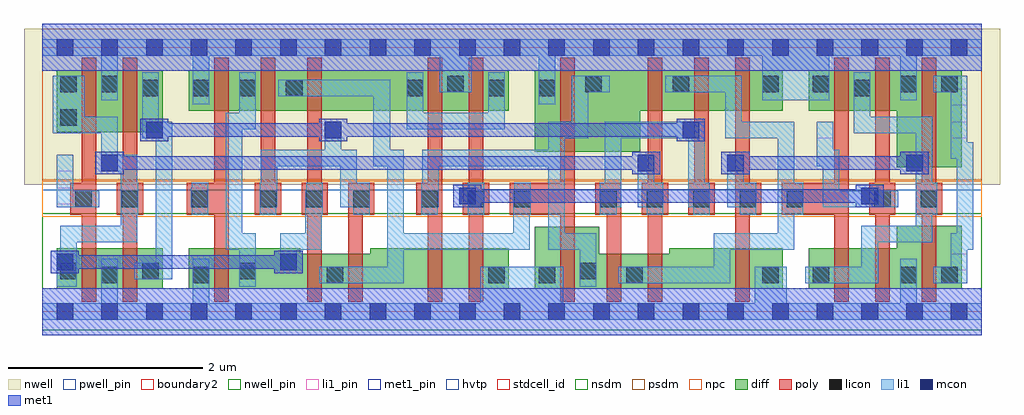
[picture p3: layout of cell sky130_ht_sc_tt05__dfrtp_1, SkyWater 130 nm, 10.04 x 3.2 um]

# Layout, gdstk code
import gdstk
lib = gdstk.Library(unit=1e-6, precision=1e-09)
def R(c, l, rs):  # rectangles x0, y0, x1, y1
    for r in rs: c.add(gdstk.rectangle(r[:2], r[2:], *l))
def A(c, l, x, y, w, h, nx, ny, dx, dy):  # array of equal rectangles
    R(c, l, [(x+i*dx, y+j*dy, x+i*dx+w, y+j*dy+h) for i in range(nx) for j in range(ny)])
def P(c, l, *ps):  # polygons
    for p in ps: c.add(gdstk.Polygon(p, *l))
nwell_pin = (64, 16)
nwell = (64, 20)
diff = (65, 20)
poly = (66, 20)
licon = (66, 44)
li1_pin = (67, 16)
li1 = (67, 20)
mcon = (67, 44)
met1_pin = (68, 16)
met1 = (68, 20)
hvtp = (78, 44)
stdcell_id = (81, 4)
nsdm = (93, 44)
psdm = (94, 20)
npc = (95, 20)
pwell_pin = (122, 16)
boundary2 = (236, 0)

sky130_ht_sc_tt05__dfrtp = lib.new_cell('sky130_ht_sc_tt05__dfrtp_1')
R(sky130_ht_sc_tt05__dfrtp, nwell_pin, [(0.145,2.635,0.315,2.805)])
R(sky130_ht_sc_tt05__dfrtp, nwell, [(-0.19,1.305,9.85,2.91)])
R(sky130_ht_sc_tt05__dfrtp, diff, [(0.145,0.235,1.235,0.655), (0.145,1.845,1.235,2.485), (1.505,2.065,4.795,2.485)])
P(sky130_ht_sc_tt05__dfrtp, diff, [(6.15,2.065),(7.615,2.065),(7.615,2.485),(5.065,2.485),(5.065,1.645),(6.15,1.645)],
  [(7.885,2.065),(8.79,2.065),(8.79,1.485),(9.455,1.485),(9.455,2.485),(7.885,2.485)],
  [(9.455,0.885),(8.79,0.885),(8.79,0.655),(7.885,0.655),(7.885,0.235),(9.455,0.235)],
  [(7.615,0.655),(6.45,0.655),(6.45,0.595),(5.73,0.595),(5.73,0.875),(5.065,0.875),(5.065,0.235),(7.615,0.235)],
  [(4.795,0.655),(3.37,0.655),(3.37,0.595),(2.65,0.595),(2.65,0.655),(1.505,0.655),(1.505,0.235),(4.795,0.235)])
P(sky130_ht_sc_tt05__dfrtp, poly, [(5.475,2.615),(5.325,2.615),(5.325,1.325),(4.805,1.325),(4.805,0.995),(5.325,0.995),(5.325,0.105),(5.475,0.105)],
  [(9.045,2.615),(9.045,1.325),(8.985,1.325),(8.985,0.995),(9.045,0.995),(9.045,0.105),(9.195,0.105),(9.195,0.995),(9.255,0.995),(9.255,1.325),(9.195,1.325),(9.195,2.615)],
  [(1.915,2.615),(1.765,2.615),(1.765,1.325),(1.485,1.325),(1.485,0.995),(1.765,0.995),(1.765,0.105),(1.915,0.105)],
  [(0.555,2.615),(0.405,2.615),(0.405,1.325),(0.285,1.325),(0.285,0.995),(0.405,0.995),(0.405,0.105),(0.555,0.105)],
  [(8.295,2.615),(8.145,2.615),(8.145,1.325),(7.605,1.325),(7.605,0.995),(8.145,0.995),(8.145,0.105),(8.295,0.105)],
  [(4.535,0.995),(4.595,0.995),(4.595,1.325),(4.535,1.325),(4.535,2.615),(4.385,2.615),(4.385,1.325),(4.325,1.325),(4.325,0.995),(4.385,0.995),(4.385,0.105),(4.535,0.105)],
  [(2.875,0.995),(2.935,0.995),(2.935,1.325),(2.875,1.325),(2.875,2.615),(2.725,2.615),(2.725,1.325),(2.665,1.325),(2.665,0.995),(2.725,0.995),(2.725,0.105),(2.875,0.105)],
  [(6.915,1.325),(6.855,1.325),(6.855,2.615),(6.705,2.615),(6.705,1.325),(6.645,1.325),(6.645,0.995),(6.915,0.995)],
  [(6.375,0.995),(6.435,0.995),(6.435,1.325),(6.375,1.325),(6.375,2.615),(6.225,2.615),(6.225,1.325),(6.165,1.325),(6.165,0.995),(6.225,0.995),(6.225,0.105),(6.375,0.105)],
  [(4.115,2.615),(3.965,2.615),(3.965,1.325),(3.845,1.325),(3.845,0.995),(3.965,0.995),(3.965,0.105),(4.115,0.105)],
  [(0.975,0.995),(1.035,0.995),(1.035,1.325),(0.975,1.325),(0.975,2.615),(0.825,2.615),(0.825,1.325),(0.765,1.325),(0.765,0.995),(0.825,0.995),(0.825,0.105),(0.975,0.105)],
  [(7.275,0.995),(7.395,0.995),(7.395,1.325),(7.275,1.325),(7.275,2.615),(7.125,2.615),(7.125,0.105),(7.275,0.105)],
  [(2.455,1.325),(2.395,1.325),(2.395,2.615),(2.245,2.615),(2.245,1.325),(2.185,1.325),(2.185,0.995),(2.455,0.995)],
  [(8.715,0.995),(8.775,0.995),(8.775,1.325),(8.715,1.325),(8.715,2.615),(8.565,2.615),(8.565,1.325),(8.505,1.325),(8.505,0.995),(8.565,0.995),(8.565,0.105),(8.715,0.105)],
  [(3.295,0.995),(3.415,0.995),(3.415,1.325),(3.145,1.325),(3.145,0.105),(3.295,0.105)],
  [(5.955,1.325),(5.685,1.325),(5.685,0.995),(5.805,0.995),(5.805,0.105),(5.955,0.105)])
A(sky130_ht_sc_tt05__dfrtp, licon, 2.235, 1.075, 0.17, 0.17, 3, 1, 0.48, 0)
A(sky130_ht_sc_tt05__dfrtp, licon, 3.895, 1.075, 0.17, 0.17, 3, 1, 0.48, 0)
A(sky130_ht_sc_tt05__dfrtp, licon, 5.735, 1.075, 0.17, 0.17, 5, 1, 0.48, 0)
A(sky130_ht_sc_tt05__dfrtp, licon, 1.545, 2.215, 0.17, 0.17, 3, 1, 0.48, 0)
R(sky130_ht_sc_tt05__dfrtp, licon, [(0.605,0.295,0.775,0.465), (1.545,0.295,1.715,0.465), (2.925,0.295,3.095,0.465), (4.585,0.295,4.755,0.465), (5.105,0.295,5.275,0.465), (6.005,0.295,6.175,0.465), (7.405,0.295,7.575,0.465), (7.925,0.295,8.095,0.465), (8.825,0.295,8.995,0.465), (9.245,0.295,9.415,0.465), (0.185,0.335,0.355,0.505), (1.025,0.335,1.195,0.505), (2.025,0.335,2.195,0.505), (5.525,0.335,5.695,0.505), (0.335,1.075,0.505,1.245), (0.815,1.075,0.985,1.245), (1.535,1.075,1.705,1.245), (8.555,1.075,8.725,1.245), (9.035,1.075,9.205,1.245), (0.185,1.915,0.355,2.085), (1.025,2.215,1.195,2.385), (3.745,2.215,3.915,2.385), (4.585,2.215,4.755,2.385), (5.105,2.215,5.275,2.385), (8.345,2.215,8.515,2.385), (0.185,2.255,0.355,2.425), (0.605,2.255,0.775,2.425), (4.165,2.255,4.335,2.425), (5.585,2.255,5.755,2.425), (6.485,2.255,6.655,2.425), (7.405,2.255,7.575,2.425), (7.925,2.255,8.095,2.425), (8.825,2.255,8.995,2.425), (9.245,2.255,9.415,2.425)])
R(sky130_ht_sc_tt05__dfrtp, li1_pin, [(9.345,0.425,9.515,0.595), (0.145,1.105,0.315,1.275), (1.525,1.105,1.695,1.275), (0.145,1.445,0.315,1.615), (7.965,1.785,8.135,1.955), (9.345,1.785,9.515,1.955), (9.345,2.125,9.515,2.295)])
P(sky130_ht_sc_tt05__dfrtp, li1, [(1.715,2.635),(4.085,2.635),(4.085,2.255),(4.415,2.255),(4.415,2.635),(5.105,2.635),(5.105,2.135),(5.275,2.135),(5.275,2.635),(7.405,2.635),(7.405,2.175),(8.095,2.175),(8.095,2.635),(8.825,2.635),(8.825,2.175),(8.995,2.175),(8.995,2.635),(9.66,2.635),(9.66,2.805),(0,2.805),(0,2.635),(0.605,2.635),(0.605,2.175),(0.775,2.175),(0.775,2.635),(1.545,2.635),(1.545,2.135),(1.715,2.135)],
  [(4.755,2.465),(4.585,2.465),(4.585,2.045),(3.915,2.045),(3.915,2.465),(3.745,2.465),(3.745,1.875),(4.755,1.875)],
  [(1.335,1.955),(1.195,1.955),(1.195,2.465),(1.025,2.465),(1.025,1.785),(1.165,1.785),(1.165,0.505),(0.945,0.505),(0.945,0.335),(1.335,0.335)],
  [(8.595,0.715),(9.155,0.715),(9.155,0.995),(9.205,0.995),(9.205,1.325),(9.155,1.325),(9.155,2.005),(8.515,2.005),(8.515,2.465),(8.345,2.465),(8.345,1.835),(8.985,1.835),(8.985,1.615),(8.885,1.615),(8.885,1.445),(8.985,1.445),(8.985,0.885),(8.425,0.885),(8.425,0.465),(7.845,0.465),(7.845,0.295),(8.595,0.295)],
  [(2.195,0.805),(2.055,0.805),(2.055,1.875),(2.195,1.875),(2.195,2.465),(2.025,2.465),(2.025,2.045),(1.885,2.045),(1.885,0.635),(2.025,0.635),(2.025,0.255),(2.195,0.255)],
  [(0.355,0.715),(0.975,0.715),(0.975,0.995),(0.985,0.995),(0.985,1.325),(0.975,1.325),(0.975,1.615),(0.775,1.615),(0.775,2.005),(0.435,2.005),(0.435,2.425),(0.105,2.425),(0.105,1.835),(0.605,1.835),(0.605,1.445),(0.805,1.445),(0.805,0.885),(0.185,0.885),(0.185,0.625),(0.145,0.625),(0.145,0.255),(0.355,0.255)],
  [(5.695,0.805),(5.375,0.805),(5.375,1.785),(5.615,1.785),(5.615,2.255),(5.835,2.255),(5.835,2.425),(5.445,2.425),(5.445,1.955),(5.205,1.955),(5.205,1.665),(3.905,1.665),(3.905,1.325),(3.895,1.325),(3.895,0.995),(4.065,0.995),(4.065,1.075),(4.075,1.075),(4.075,1.495),(5.205,1.495),(5.205,0.635),(5.525,0.635),(5.525,0.255),(5.695,0.255)],
  [(7.075,0.635),(7.735,0.635),(7.735,0.995),(7.825,0.995),(7.825,1.325),(7.735,1.325),(7.735,1.955),(7.195,1.955),(7.195,2.425),(6.405,2.425),(6.405,2.255),(7.025,2.255),(7.025,1.785),(7.565,1.785),(7.565,0.805),(6.905,0.805),(6.905,0.465),(5.925,0.465),(5.925,0.295),(7.075,0.295)],
  [(9.165,2.255),(9.345,2.255),(9.345,1.575),(9.405,1.575),(9.405,0.805),(9.345,0.805),(9.345,0.465),(9.165,0.465),(9.165,0.295),(9.515,0.295),(9.515,0.635),(9.575,0.635),(9.575,1.745),(9.515,1.745),(9.515,2.425),(9.165,2.425)],
  [(3.715,0.635),(5.015,0.635),(5.015,0.995),(5.025,0.995),(5.025,1.325),(4.855,1.325),(4.855,1.245),(4.845,1.245),(4.845,0.805),(3.715,0.805),(3.715,1.665),(3.575,1.665),(3.575,2.385),(2.425,2.385),(2.425,2.215),(3.405,2.215),(3.405,1.495),(3.545,1.495),(3.545,0.465),(2.845,0.465),(2.845,0.295),(3.715,0.295)],
  [(8.805,1.245),(8.595,1.245),(8.595,1.275),(8.425,1.275),(8.425,1.245),(8.195,1.245),(8.195,1.665),(8.135,1.665),(8.135,1.955),(7.965,1.955),(7.965,1.495),(8.025,1.495),(8.025,1.075),(8.805,1.075)],
  [(5.905,1.075),(5.955,1.075),(5.955,1.785),(6.645,1.785),(6.645,1.075),(6.695,1.075),(6.695,0.995),(6.865,0.995),(6.865,1.325),(6.815,1.325),(6.815,1.955),(5.785,1.955),(5.785,1.325),(5.735,1.325),(5.735,0.995),(5.905,0.995)],
  [(2.405,1.075),(2.415,1.075),(2.415,1.495),(3.065,1.495),(3.065,1.075),(3.195,1.075),(3.195,0.995),(3.365,0.995),(3.365,1.325),(3.235,1.325),(3.235,1.665),(3.075,1.665),(3.075,1.955),(2.905,1.955),(2.905,1.665),(2.245,1.665),(2.245,1.325),(2.235,1.325),(2.235,0.995),(2.405,0.995)],
  [(7.345,1.325),(7.215,1.325),(7.215,1.615),(7.045,1.615),(7.045,1.075),(7.175,1.075),(7.175,0.995),(7.345,0.995)],
  [(6.385,1.325),(6.295,1.325),(6.295,1.615),(6.125,1.615),(6.125,1.075),(6.215,1.075),(6.215,0.995),(6.385,0.995)],
  [(0.585,1.245),(0.315,1.245),(0.315,1.615),(0.145,1.615),(0.145,1.075),(0.585,1.075)],
  [(1.705,1.325),(1.535,1.325),(1.535,1.275),(1.525,1.275),(1.525,1.075),(1.535,1.075),(1.535,0.995),(1.705,0.995)],
  [(4.545,1.325),(4.375,1.325),(4.375,1.275),(4.285,1.275),(4.285,1.105),(4.375,1.105),(4.375,0.995),(4.545,0.995)],
  [(2.615,0.635),(2.875,0.635),(2.875,0.995),(2.885,0.995),(2.885,1.325),(2.715,1.325),(2.715,1.245),(2.705,1.245),(2.705,0.805),(2.445,0.805),(2.445,0.425),(2.615,0.425)],
  [(9.66,0.085),(8.995,0.085),(8.995,0.545),(8.825,0.545),(8.825,0.085),(7.655,0.085),(7.655,0.465),(7.325,0.465),(7.325,0.085),(5.355,0.085),(5.355,0.465),(4.505,0.465),(4.505,0.085),(1.715,0.085),(1.715,0.545),(1.545,0.545),(1.545,0.085),(0.775,0.085),(0.775,0.545),(0.605,0.545),(0.605,0.085),(0,0.085),(0,-0.085),(9.66,-0.085)])
A(sky130_ht_sc_tt05__dfrtp, mcon, 0.145, -0.085, 0.17, 0.17, 21, 2, 0.46, 2.72)
R(sky130_ht_sc_tt05__dfrtp, mcon, [(0.145,0.425,0.315,0.595), (2.445,0.425,2.615,0.595), (4.285,1.105,4.455,1.275), (8.425,1.105,8.595,1.275), (0.605,1.445,0.775,1.615), (6.125,1.445,6.295,1.615), (7.045,1.445,7.215,1.615), (8.885,1.445,9.055,1.615), (1.065,1.785,1.235,1.955), (2.905,1.785,3.075,1.955), (6.585,1.785,6.755,1.955)])
R(sky130_ht_sc_tt05__dfrtp, met1_pin, [(0.145,-0.085,0.315,0.085), (0.145,2.635,0.315,2.805)])
P(sky130_ht_sc_tt05__dfrtp, met1, [(1.295,1.8),(2.845,1.8),(2.845,1.755),(3.135,1.755),(3.135,1.8),(6.525,1.8),(6.525,1.755),(6.815,1.755),(6.815,1.985),(6.525,1.985),(6.525,1.94),(3.135,1.94),(3.135,1.985),(2.845,1.985),(2.845,1.94),(1.295,1.94),(1.295,1.985),(1.005,1.985),(1.005,1.755),(1.295,1.755)],
  [(0.835,1.46),(6.065,1.46),(6.065,1.415),(6.355,1.415),(6.355,1.645),(6.065,1.645),(6.065,1.6),(0.835,1.6),(0.835,1.645),(0.545,1.645),(0.545,1.415),(0.835,1.415)],
  [(8.825,1.645),(8.825,1.6),(7.275,1.6),(7.275,1.645),(6.985,1.645),(6.985,1.415),(7.275,1.415),(7.275,1.46),(8.825,1.46),(8.825,1.415),(9.115,1.415),(9.115,1.645)],
  [(4.515,1.12),(8.365,1.12),(8.365,1.075),(8.655,1.075),(8.655,1.305),(8.365,1.305),(8.365,1.26),(4.515,1.26),(4.515,1.305),(4.225,1.305),(4.225,1.075),(4.515,1.075)],
  [(0.375,0.44),(2.385,0.44),(2.385,0.395),(2.675,0.395),(2.675,0.625),(2.385,0.625),(2.385,0.58),(0.375,0.58),(0.375,0.625),(0.085,0.625),(0.085,0.395),(0.375,0.395)])
R(sky130_ht_sc_tt05__dfrtp, hvtp, [(0,1.25,9.66,2.72)])
R(sky130_ht_sc_tt05__dfrtp, stdcell_id, [(0,0,9.66,2.72)])
R(sky130_ht_sc_tt05__dfrtp, nsdm, [(0,-0.19,9.66,1.015)])
R(sky130_ht_sc_tt05__dfrtp, psdm, [(0,1.355,9.66,2.91)])
R(sky130_ht_sc_tt05__dfrtp, npc, [(0,0.975,9.66,1.345)])
R(sky130_ht_sc_tt05__dfrtp, pwell_pin, [(0.145,-0.085,0.315,0.085)])
R(sky130_ht_sc_tt05__dfrtp, boundary2, [(0,0,9.66,2.72)])
sky130_ht_sc_tt05__dfrtp.add(gdstk.FlexPath([(0,0),(9.66,0)], 0.48, ends="flush", simple_path=True, layer=68, datatype=20))  # met1
sky130_ht_sc_tt05__dfrtp.add(gdstk.FlexPath([(0,2.72),(9.66,2.72)], 0.48, ends="flush", simple_path=True, layer=68, datatype=20))  # met1

lib.write_gds('sky130_ht_sc_tt05__dfrtp_1.gds')
